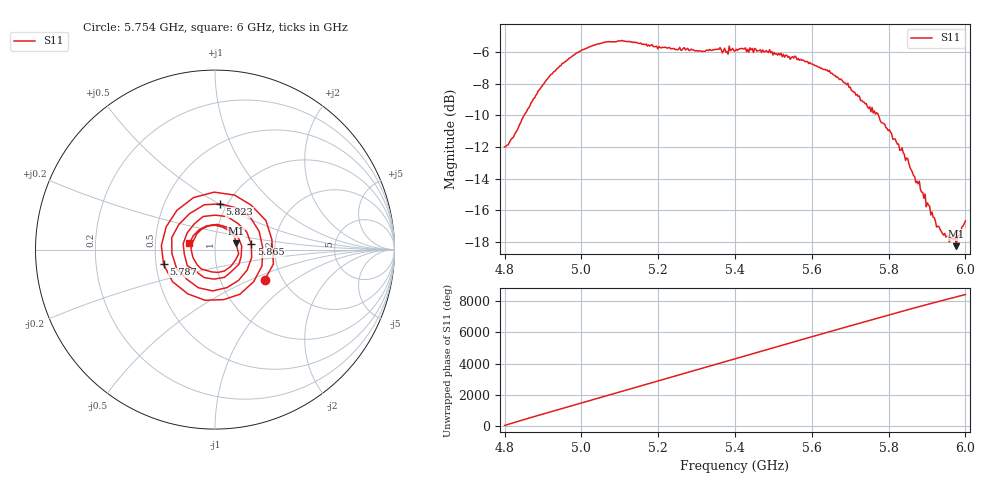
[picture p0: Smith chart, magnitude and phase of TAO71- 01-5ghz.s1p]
! NanoVNA-App
! Date: 2026-05-22 15:35:19
! Start: 4.8GHz Stop: 6GHz Points: 401
! S-Parameter data: F S11
# Hz S RI R 50
!  Frequency  S11_Real  S11_Imag
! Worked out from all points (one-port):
!   401 points, 4.8 GHz to 6 GHz, reference 50 ohm
!   lowest |S11| = -18.3 dB at 5.976 GHz (marker M1), VSWR 1.28, Z = 63.1 + j4.43 ohm
!   |S11| at or under -10 dB: start of sweep to 4.85 GHz; 5.774 GHz to end of sweep
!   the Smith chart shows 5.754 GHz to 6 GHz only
!   S11 on the Smith chart (normalised r, x): 5.754 GHz: 1.62, -0.62; 5.787 GHz: 0.55, -0.10; 5.823 GHz: 0.93, +0.51; 5.865 GHz: 1.50, +0.09; 6 GHz: 0.75, +0.05
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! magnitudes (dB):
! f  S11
! 4.8 GHz  -12.0
! 4.827 GHz  -11.2
! 4.851 GHz  -10.0
! 4.893 GHz  -8.3
! 4.95 GHz  -6.7
! 4.986 GHz  -6.1
! 5.025 GHz  -5.6
! 5.1 GHz  -5.3
! 5.25 GHz  -5.9
! 5.4 GHz  -5.9
! 5.421 GHz  -5.8
! 5.484 GHz  -6.0
! 5.55 GHz  -6.3
! 5.64 GHz  -7.1
! 5.7 GHz  -8.2
! 5.754 GHz  -9.8
! 5.769 GHz  -9.8
! 5.787 GHz  -10.5
! 5.823 GHz  -11.8
! 5.85 GHz  -12.7
! 5.865 GHz  -13.8
! 5.883 GHz  -14.7
! 5.904 GHz  -15.7
! 5.931 GHz  -17.0
! 5.955 GHz  -17.6
! 5.976 GHz  -18.3
! 5.982 GHz  -17.6
! 6 GHz  -16.7
